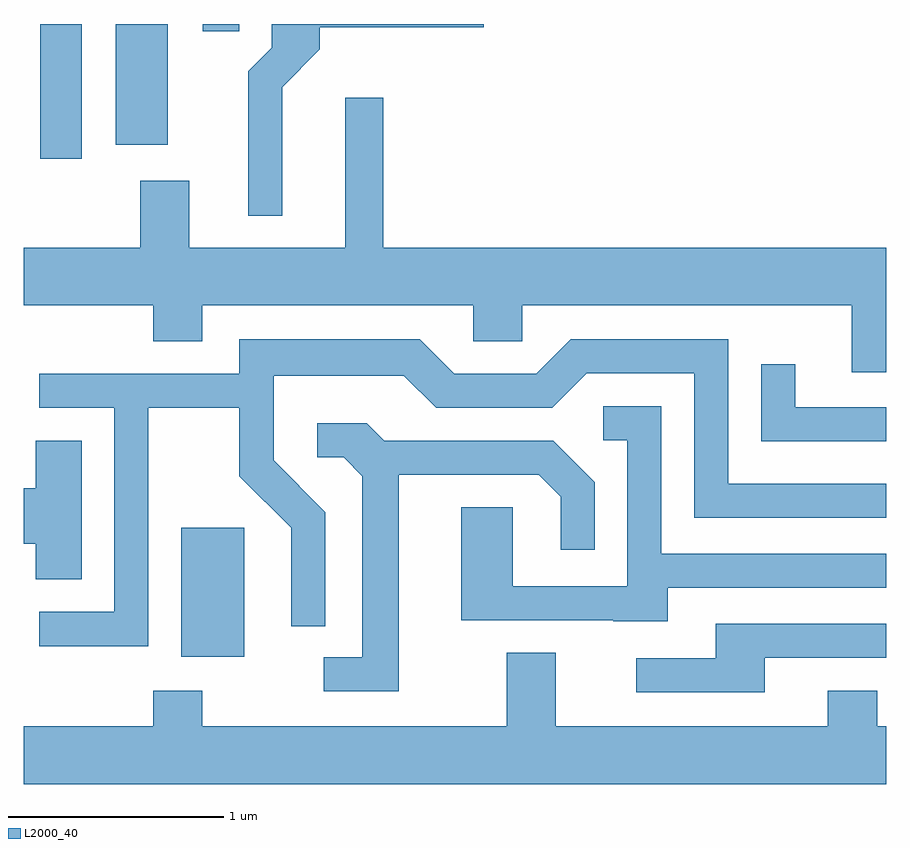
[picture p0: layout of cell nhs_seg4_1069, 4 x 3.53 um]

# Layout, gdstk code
import gdstk
lib = gdstk.Library(unit=1e-6, precision=1e-09)
def R(c, l, rs):  # rectangles x0, y0, x1, y1
    for r in rs: c.add(gdstk.rectangle(r[:2], r[2:], *l))
def P(c, l, *ps):  # polygons
    for p in ps: c.add(gdstk.Polygon(p, *l))
L2000_40 = (2000, 40)

nhs_seg4_1069 = lib.new_cell('nhs_seg4_1069')
R(nhs_seg4_1069, L2000_40, [(216.341,1353.046,216.634,1353.644), (215.686,1355.356,215.879,1355.982), (216.036,1355.421,216.279,1355.982), (216.441,1355.948,216.609,1355.982)])
P(nhs_seg4_1069, L2000_40, [(216.809,1355.689),(216.984,1355.864),(216.984,1355.966),(217.744,1355.966),(217.744,1355.982),(216.761,1355.982),(216.761,1355.872),(216.651,1355.762),(216.651,1355.093),(216.809,1355.093)],
  [(219.611,1354.944),(217.279,1354.944),(217.279,1355.639),(217.101,1355.639),(217.101,1354.944),(216.379,1354.944),(216.379,1355.254),(216.151,1355.254),(216.151,1354.944),(215.611,1354.944),(215.611,1354.676),(216.211,1354.676),(216.211,1354.511),(216.439,1354.511),(216.439,1354.676),(217.696,1354.676),(217.696,1354.511),(217.924,1354.511),(217.924,1354.676),(219.451,1354.676),(219.451,1354.366),(219.611,1354.366)],
  [(216.189,1354.201),(216.611,1354.201),(216.611,1353.884),(216.851,1353.644),(216.851,1353.188),(217.009,1353.188),(217.009,1353.717),(216.769,1353.957),(216.769,1354.351),(217.374,1354.351),(217.524,1354.201),(218.062,1354.201),(218.222,1354.361),(218.721,1354.361),(218.721,1353.691),(219.611,1353.691),(219.611,1353.849),(218.879,1353.849),(218.879,1354.519),(218.149,1354.519),(217.989,1354.359),(217.607,1354.359),(217.447,1354.519),(216.611,1354.519),(216.611,1354.359),(215.683,1354.359),(215.683,1354.201),(216.031,1354.201),(216.031,1353.254),(215.683,1353.254),(215.683,1353.096),(216.189,1353.096)],
  [(219.611,1354.204),(219.189,1354.204),(219.189,1354.403),(219.031,1354.403),(219.031,1354.046),(219.611,1354.046)],
  [(218.599,1353.366),(219.611,1353.366),(219.611,1353.524),(218.569,1353.524),(218.569,1354.209),(218.298,1354.209),(218.298,1354.051),(218.411,1354.051),(218.411,1353.374),(217.879,1353.374),(217.879,1353.739),(217.641,1353.739),(217.641,1353.216),(218.345,1353.216),(218.345,1353.211),(218.599,1353.211)],
  [(217.349,1353.891),(217.999,1353.891),(218.101,1353.789),(218.101,1353.543),(218.259,1353.543),(218.259,1353.857),(218.067,1354.049),(217.282,1354.049),(217.202,1354.129),(216.973,1354.129),(216.973,1353.971),(217.094,1353.971),(217.181,1353.884),(217.181,1353.044),(217.003,1353.044),(217.003,1352.886),(217.349,1352.886)],
  [(215.879,1354.049),(215.666,1354.049),(215.666,1353.829),(215.611,1353.829),(215.611,1353.571),(215.666,1353.571),(215.666,1353.406),(215.879,1353.406)],
  [(219.049,1353.041),(219.611,1353.041),(219.611,1353.199),(218.821,1353.199),(218.821,1353.039),(218.453,1353.039),(218.453,1352.881),(219.049,1352.881)],
  [(219.611,1352.724),(219.569,1352.724),(219.569,1352.889),(219.341,1352.889),(219.341,1352.724),(218.079,1352.724),(218.079,1353.064),(217.851,1353.064),(217.851,1352.724),(216.439,1352.724),(216.439,1352.889),(216.211,1352.889),(216.211,1352.724),(215.611,1352.724),(215.611,1352.456),(219.611,1352.456)])

lib.write_gds('nhs_seg4_1069.gds')
